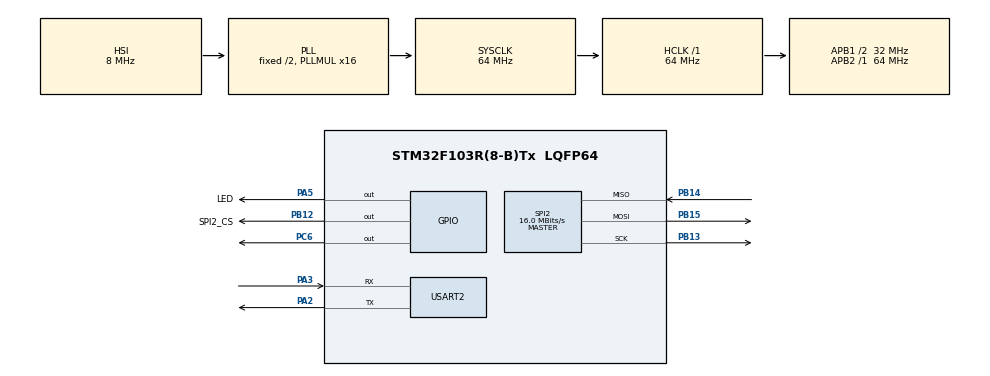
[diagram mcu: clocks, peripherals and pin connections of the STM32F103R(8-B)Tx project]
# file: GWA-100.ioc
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Mcu.Family=STM32F1
Mcu.Name=STM32F103R(8-B)Tx
Mcu.Package=LQFP64
NVIC.PriorityGroup=NVIC_PRIORITYGROUP_4
NVIC.USART2_IRQn=true\:0\:0\:false\:false\:true\:true\:true\:true
PA13.Mode=Serial_Wire
PA13.Signal=SYS_JTMS-SWDIO
PA14.Mode=Serial_Wire
PA14.Signal=SYS_JTCK-SWCLK
PA2.Mode=Asynchronous
PA2.Signal=USART2_TX
PA3.Mode=Asynchronous
PA3.Signal=USART2_RX
PA5.GPIO_Label=LED
PA5.Signal=GPIO_Output
PB12.GPIO_Label=SPI2_CS
PB12.Signal=GPIO_Output
PB13.Mode=Full_Duplex_Master
PB13.Signal=SPI2_SCK
PB14.Mode=Full_Duplex_Master
PB14.Signal=SPI2_MISO
PB15.Mode=Full_Duplex_Master
PB15.Signal=SPI2_MOSI
PC6.Signal=GPIO_Output
ProjectManager.HeapSize=0x200
ProjectManager.StackSize=0x400
ProjectManager.TargetToolchain=STM32CubeIDE
RCC.AHBFreq_Value=64000000
RCC.APB1CLKDivider=RCC_HCLK_DIV2
RCC.APB1Freq_Value=32000000
RCC.APB1TimFreq_Value=64000000
RCC.APB2Freq_Value=64000000
RCC.APB2TimFreq_Value=64000000
RCC.HCLKFreq_Value=64000000
RCC.PLLMUL=RCC_PLL_MUL16
RCC.SYSCLKFreq_VALUE=64000000
RCC.SYSCLKSource=RCC_SYSCLKSOURCE_PLLCLK
RCC.USBFreq_Value=64000000
SPI2.BaudRatePrescaler=SPI_BAUDRATEPRESCALER_2
SPI2.CalculateBaudRate=16.0 MBits/s
SPI2.Direction=SPI_DIRECTION_2LINES
SPI2.Mode=SPI_MODE_MASTER
SPI2.VirtualType=VM_MASTER
USART2.VirtualMode=VM_ASYNC
board=custom

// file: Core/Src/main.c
/* USER CODE BEGIN Header */
/**
  ******************************************************************************
  * @file           : main.c
  * @brief          : Main program body
  ******************************************************************************
  * @attention
  *
  * Copyright (c) 2023 STMicroelectronics.
  * All rights reserved.
  *
  * This software is licensed under terms that can be found in the LICENSE file
  * in the root directory of this software component.
  * If no LICENSE file comes with this software, it is provided AS-IS.
  *
  ******************************************************************************
  */
/* USER CODE END Header */
#include "main.h"
#include "spi.h"
#include "usart.h"
#include "gpio.h"

/* USER CODE BEGIN Includes */
#include <stdio.h>
#include "w5500_spi.h"
#include "wizchip_conf.h"
#include "socket.h"
#include "inttypes.h"
#include "Internet/MQTT/MQTTClient.h"
#include "Internet/DNS/dns.h"
/* USER CODE END Includes */

/* USER CODE BEGIN PTD */
uint8_t rx_data;

wiz_NetInfo gWIZNETINFO  = {
    .mac = {0x00,0x08,0xdc,0x78,0x91,0x71},
    .ip = {192,168,0,15},
    .sn = {255, 255, 255, 0},
    .gw = {192, 168, 0, 1},
    .dns = {168, 126, 63, 1},
    .dhcp = NETINFO_STATIC
};

#define ETH_MAX_BUF_SIZE  2048
#define PUBLISH_MYSELF 1

unsigned char ethBuf0[ETH_MAX_BUF_SIZE];
unsigned char ethBuf1[ETH_MAX_BUF_SIZE];
unsigned char ethBuf2[ETH_MAX_BUF_SIZE];
unsigned char ethBuf3[ETH_MAX_BUF_SIZE];

uint8_t bLoopback = 1;
uint8_t bRandomPacket = 0;
uint8_t bAnyPacket = 0;
uint16_t pack_size = 0;

const uint8_t URL[] = "test.mosquitto.org";
uint8_t dns_server_ip[4] = {168,126,63,1};
uint8_t dnsclient_ip[4] = {0,};
unsigned int targetPort = 1883; // mqtt server port
unsigned char targetIP[4] = {0x00, 0x00, 0x00, 0x00}; // mqtt server IP

uint8_t IP_TYPE;

const uint8_t MQTT_TOPIC[]="W5x00";
unsigned char tempBuffer[1024*2] = {};

void print_network_information(void);
void delay(unsigned int count);
void MQTT_run(void);
void messageArrived(MessageData* md);

struct opts_struct
{
  char* clientid;
  int nodelimiter;
  char* delimiter;
  enum QoS qos;
  char* username;
  char* password;
  char* host;
  int port;
  int showtopics;
} opts ={ (char*)"stdout-subscriber", 0, (char*)"\n", QOS0, NULL, NULL, targetIP, 1883, 0 };
/* USER CODE END PTD */

void SystemClock_Config(void);
/* USER CODE BEGIN PFP */
int __io_putchar(int ch)
{
	 (void) HAL_UART_Transmit(&huart2, (uint8_t*) &ch, 1, 100);
	 return ch;
}
/* USER CODE END PFP */

int main(void)
{

  /* MCU Configuration--------------------------------------------------------*/

  /* Reset of all peripherals, Initializes the Flash interface and the Systick. */
  HAL_Init();

  /* Configure the system clock */
  SystemClock_Config();

  /* Initialize all configured peripherals */
  MX_GPIO_Init();
  MX_USART2_UART_Init();
  MX_SPI2_Init();

  /* USER CODE BEGIN 2 */
  HAL_UART_Receive_IT(&huart2, &rx_data, 1);

  printf("System start.\r\n");
  w5500Init();
  wizchip_setnetinfo(&gWIZNETINFO);
  print_network_information();
  DNS_init(0,ethBuf0);
  IP_TYPE = 0x1c;
  while (DNS_run(dns_server_ip, URL, dnsclient_ip) != 1);
  MQTT_run();

  /* USER CODE END 2 */

  /* Infinite loop */
  while (1)
  {

    /* USER CODE BEGIN 3 */
	  HAL_GPIO_WritePin(LED_GPIO_Port, LED_Pin, GPIO_PIN_SET);
	  HAL_Delay(500);
	  HAL_GPIO_WritePin(LED_GPIO_Port, LED_Pin, GPIO_PIN_RESET);
	  HAL_Delay(500);

	  //printf("test code\r\n");
  }
  /* USER CODE END 3 */
}

void SystemClock_Config(void)
{
  RCC_OscInitTypeDef RCC_OscInitStruct = {0};
  RCC_ClkInitTypeDef RCC_ClkInitStruct = {0};

  /** Initializes the RCC Oscillators according to the specified parameters
  * in the RCC_OscInitTypeDef structure.
  */
  RCC_OscInitStruct.OscillatorType = RCC_OSCILLATORTYPE_HSI;
  RCC_OscInitStruct.HSIState = RCC_HSI_ON;
  RCC_OscInitStruct.HSICalibrationValue = RCC_HSICALIBRATION_DEFAULT;
  RCC_OscInitStruct.PLL.PLLState = RCC_PLL_ON;
  RCC_OscInitStruct.PLL.PLLSource = RCC_PLLSOURCE_HSI_DIV2;
  RCC_OscInitStruct.PLL.PLLMUL = RCC_PLL_MUL16;
  if (HAL_RCC_OscConfig(&RCC_OscInitStruct) != HAL_OK)
  {
    Error_Handler();
  }

  /** Initializes the CPU, AHB and APB buses clocks
  */
  RCC_ClkInitStruct.ClockType = RCC_CLOCKTYPE_HCLK|RCC_CLOCKTYPE_SYSCLK
                              |RCC_CLOCKTYPE_PCLK1|RCC_CLOCKTYPE_PCLK2;
  RCC_ClkInitStruct.SYSCLKSource = RCC_SYSCLKSOURCE_PLLCLK;
  RCC_ClkInitStruct.AHBCLKDivider = RCC_SYSCLK_DIV1;
  RCC_ClkInitStruct.APB1CLKDivider = RCC_HCLK_DIV2;
  RCC_ClkInitStruct.APB2CLKDivider = RCC_HCLK_DIV1;

  if (HAL_RCC_ClockConfig(&RCC_ClkInitStruct, FLASH_LATENCY_2) != HAL_OK)
  {
    Error_Handler();
  }
}

/* USER CODE BEGIN 4 */
void HAL_UART_RxCpltCallback(UART_HandleTypeDef *huart)
{
	if (huart->Instance == USART2) {
		printf("Key Pressed: %c\r\n", rx_data);
		if(rx_data == 'a')
		{
			printf("ok\r\n");
		}
		HAL_UART_Receive_IT(&huart2, &rx_data, 1);
	}
}

void MQTT_run(void){

  int rc = 0;
  uint8_t buf[100];
  uint8_t pubbuf[100];
  Network n;
  MQTTClient c;
  MQTTMessage m;
  uint32_t ck_timer;

  NewNetwork(&n, 0);
  ConnectNetwork(&n, dnsclient_ip, targetPort);
  MQTTClientInit(&c, &n, 1000, buf, sizeof(buf), tempBuffer, sizeof(tempBuffer));

  MQTTPacket_connectData data = MQTTPacket_connectData_initializer;
  data.willFlag = 0;
  data.MQTTVersion = 3;
  data.clientID.cstring = opts.clientid;
  data.username.cstring = opts.username;
  data.password.cstring = opts.password;

  data.keepAliveInterval = 60;
  data.cleansession = 1;

  rc = MQTTConnect(&c, &data);
  printf("Connected %d\r\n", rc);
  opts.showtopics = 1;

  printf("Subscribing to %s\r\n", MQTT_TOPIC);
  rc = MQTTSubscribe(&c, MQTT_TOPIC, opts.qos, messageArrived);
  printf("Subscribed %d\r\n", rc);

#if PUBLISH_MYSELF == 1
  m.qos = QOS0;
  m.retained = 0;
  m.dup = 0;

  //ck_timer = TIM2_gettimer();
#endif

  while(1)
  {
    MQTTYield(&c, data.keepAliveInterval);

#if PUBLISH_MYSELF == 1
    //if(ck_timer + 10000 < TIM2_gettimer())
    {
      //ck_timer = TIM2_gettimer();

      //printf("Publishing to %s\r\n", MQTT_TOPIC);

      sprintf(pubbuf, "Hello, W5x00!" );
      m.payload = pubbuf;
      m.payloadlen = strlen(pubbuf);

      rc = MQTTPublish(&c, MQTT_TOPIC, &m);
      printf("Published %d\r\n", rc);
    }
#endif
  }
}

void print_network_information(void)
{
  memset(&gWIZNETINFO,0,sizeof(gWIZNETINFO));

  wizchip_getnetinfo(&gWIZNETINFO);
  printf("MAC Address : %02x:%02x:%02x:%02x:%02x:%02x\n\r",gWIZNETINFO.mac[0],gWIZNETINFO.mac[1],gWIZNETINFO.mac[2],gWIZNETINFO.mac[3],gWIZNETINFO.mac[4],gWIZNETINFO.mac[5]);
  printf("IP  Address : %d.%d.%d.%d\n\r",gWIZNETINFO.ip[0],gWIZNETINFO.ip[1],gWIZNETINFO.ip[2],gWIZNETINFO.ip[3]);
  printf("Subnet Mask : %d.%d.%d.%d\n\r",gWIZNETINFO.sn[0],gWIZNETINFO.sn[1],gWIZNETINFO.sn[2],gWIZNETINFO.sn[3]);
  printf("Gateway     : %d.%d.%d.%d\n\r",gWIZNETINFO.gw[0],gWIZNETINFO.gw[1],gWIZNETINFO.gw[2],gWIZNETINFO.gw[3]);
  printf("DNS Server  : %d.%d.%d.%d\n\r",gWIZNETINFO.dns[0],gWIZNETINFO.dns[1],gWIZNETINFO.dns[2],gWIZNETINFO.dns[3]);
}

// @brief messageArrived callback function
void messageArrived(MessageData* md)
{
  unsigned char testbuffer[100];
  uint32_t rd_size;
  uint32_t rd_pt;
  uint32_t rdmore_size;

  MQTTMessage* message = md->message;
  MQTTString* topic = md->topicName;

  rdmore_size = (int)topic->lenstring.len;
  rd_pt = 0;

  while(rdmore_size != 0)
  {
    if(rdmore_size > sizeof(testbuffer) - 1)
    {
      rd_size = sizeof(testbuffer) - 1;
    }
    else
    {
      rd_size = rdmore_size;
    }

    memset(testbuffer, 0, rd_size + 1);

    memcpy(testbuffer, ((char*)topic->lenstring.data) + rd_pt, rd_size);
    printf("SubScribe Topic : %s\r\n", testbuffer);

    rd_pt += rd_size;
    rdmore_size -= rd_size;
  }

  if (opts.nodelimiter)
  {
    printf("Message : %.*s\r\n", (int)message->payloadlen, (char*)message->payload);
  }
  else
  {
    printf("Message : %.*s%s\r\n", (int)message->payloadlen, (char*)message->payload, opts.delimiter);
  }
}
/* USER CODE END 4 */

void Error_Handler(void)
{
  __disable_irq();
  while (1)
  {
  }
}
